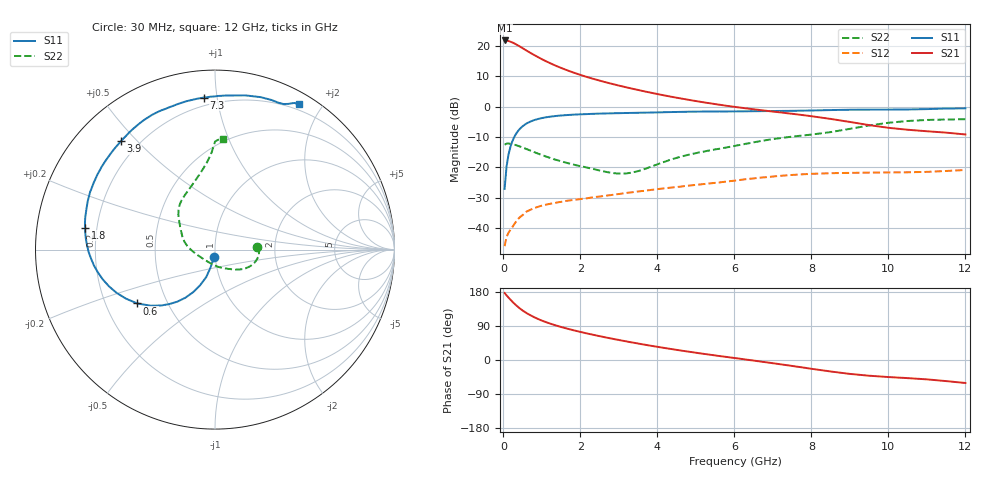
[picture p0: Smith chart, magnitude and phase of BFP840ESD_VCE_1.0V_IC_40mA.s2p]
! Infineon Technologies  Discrete & RF Semiconductors
! BFP840ESD
! VCE =  1.0 V,  IC =  40 mA
! Common Emitter S-Parameters:  May 2012
# GHz  S  MA  R  50
!  f  S11  S21  S12  S22
! GHz  MAG  ANG  MAG  ANG  MAG  ANG  MAG  ANG
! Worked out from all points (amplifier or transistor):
!   93 points, 30 MHz to 12 GHz, reference 50 ohm
!   highest |S21| = 21.8 dB at 30 MHz (marker M1)
!   |S21| within 3 dB of that: start of sweep to 557.1 MHz
!   unconditionally stable (mu >= 1): start of sweep to end of sweep
!   at 1.1 GHz: K = 1.99, MAG = 18.0 dB, |S12| = -32.4 dB
!   at 4.2 GHz: K = 2.57, MAG = 8.3 dB, |S12| = -26.9 dB
!   at 12 GHz: K = 1.66, MAG = 1.1 dB, |S12| = -20.9 dB
!   S11 on the Smith chart (normalised r, x): 30 MHz: 0.98, -0.09; 600 MHz: 0.34, -0.28; 1.8 GHz: 0.15, +0.08; 3.9 GHz: 0.13, +0.45; 7.3 GHz: 0.15, +0.92; 12 GHz: 0.13, +1.73
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0.03  0.044 -98.1  12.3 176.8  0.005 23.2  0.2351 3.0
0.08  0.1017 -103.9  12.26 170.7  0.0071 31.4  0.2449 -2.1
0.13  0.161 -107.7  12.07 164.9  0.0083 33.3  0.2465 -6.1
0.23  0.2669 -117.2  11.4 154.0  0.0103 41.3  0.2401 -12.9
0.28  0.3147 -121.6  11.01 149.0  0.0115 43.0  0.2359 -15.9
0.33  0.3581 -125.9  10.59 144.3  0.0128 43.3  0.2308 -18.8
0.43  0.4321 -133.9  9.736 135.8  0.0151 42.6  0.2196 -24.1
0.6  0.527 -145.3  8.383 123.8  0.0186 41.8  0.1995 -31.6
0.8  0.5992 -156.3  7.067 112.8  0.0212 38.9  0.1773 -38.6
1  0.6469 -165.1  6.036 103.9  0.0233 36.6  0.1588 -44.6
1.1  0.6648 -169.0  5.61 100.1  0.0241 35.7  0.1505 -47.2
1.4  0.7037 -178.8  4.597 90.0  0.0263 34.5  0.1307 -55.5
1.8  0.7348 170.4  3.673 79.0  0.0288 33.3  0.1115 -66.9
2.1  0.7491 163.4  3.174 71.7  0.0304 33.4  0.1012 -76.1
2.9  0.7772 147.5  2.301 54.7  0.0356 33.6  0.0795 -110.9
3.9  0.7999 130.9  1.657 36.4  0.0428 31.7  0.1059 -165.6
4.1  0.8047 127.9  1.562 33.1  0.0444 31.3  0.1179 -172.6
6.1  0.8335 106.8  0.971 4.0  0.0612 23.8  0.2308 147.3
7.3  0.8494 94.2  0.787 -12.8  0.073 14.1  0.3088 130.6
8.5  0.8758 78.8  0.626 -30.3  0.0798 2.7  0.3796 110.0
10.5  0.8962 64.8  0.415 -47.8  0.0826 -11.1  0.5783 90.7
12  0.9354 59.8  0.347 -60.7  0.0901 -18.1  0.6192 85.7
